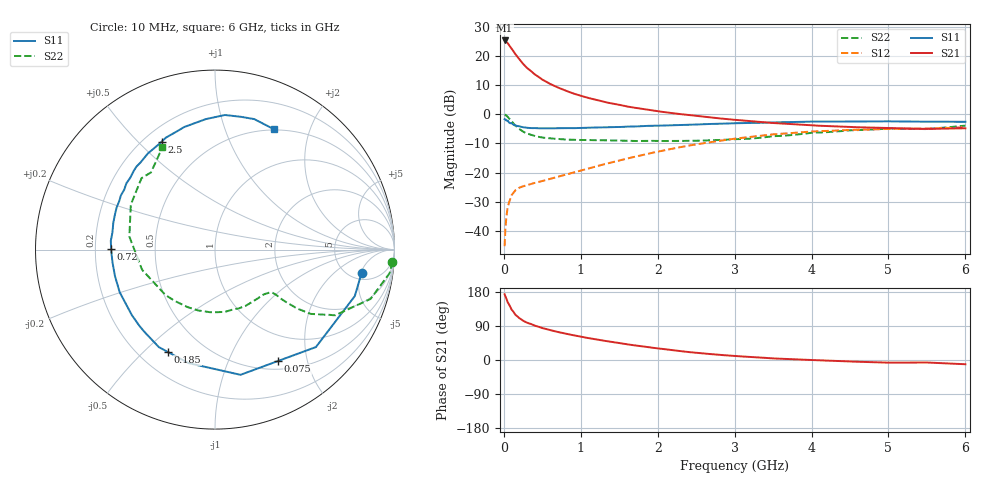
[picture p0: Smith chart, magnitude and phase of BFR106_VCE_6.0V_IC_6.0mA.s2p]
! Infineon Technologies  Discrete & RF Semiconductors
! BFR106
! VCE =  6.0 V,  IC =  6.0 mA
! Common Emitter S-Parameters:  Nov 2015
# GHz  S  MA  R  50
!  f  S11  S21  S12  S22
! GHz  MAG  ANG  MAG  ANG  MAG  ANG  MAG  ANG
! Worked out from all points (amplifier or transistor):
!   210 points, 10 MHz to 6 GHz, reference 50 ohm
!   highest |S21| = 25.4 dB at 10 MHz (marker M1)
!   |S21| within 3 dB of that: start of sweep to 107.1 MHz
!   unconditionally stable (mu >= 1): 583.7 MHz to 1.863 GHz; 5.048 GHz to end of sweep
!   at 185 MHz: K = 0.42, MSG = 22.5 dB, |S12| = -25.5 dB
!   at 1.52 GHz: K = 1.10, MAG = 7.6 dB, |S12| = -15.7 dB
!   at 6 GHz: K = 1.02, MAG = -1.0 dB, |S12| = -4.4 dB
!   S11 on the Smith chart (normalised r, x): 10 MHz: 6.17, -5.16; 75 MHz: 0.61, -1.54; 185 MHz: 0.32, -0.59; 720 MHz: 0.27, +0.00; 2.5 GHz: 0.27, +0.59; 6 GHz: 0.49, +1.49
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0.01  0.8269 -9.2  18.72 173.5  0.0054 84.6  0.991 -3.9
0.02  0.8208 -18.4  18.51 168.4  0.0106 79.4  0.9816 -7.7
0.05  0.7817 -44.0  16.85 152.4  0.0252 68.8  0.9095 -17.6
0.075  0.7133 -60.4  15.07 143.8  0.0327 60.3  0.8327 -22.6
0.1  0.7119 -78.5  13.7 133.3  0.0406 55.1  0.7636 -28.6
0.15  0.6494 -103.1  10.88 119.3  0.0494 46.5  0.642 -33.9
0.185  0.6279 -114.8  9.482 113.6  0.053 44.3  0.5858 -35.1
0.2  0.627 -119.9  8.92 110.6  0.0546 43.5  0.5618 -35.7
0.26  0.5984 -134.7  7.181 102.6  0.0585 41.7  0.4974 -36.4
0.3  0.5896 -141.9  6.325 98.6  0.0605 42.2  0.4693 -36.6
0.4  0.5817 -155.9  4.91 90.8  0.0661 43.5  0.423 -36.5
0.5  0.5765 -165.2  3.971 84.3  0.0714 46.4  0.3987 -36.9
0.6  0.5756 -173.1  3.354 78.9  0.0776 48.8  0.3867 -38.2
0.72  0.5788 179.4  2.842 73.2  0.0857 52.4  0.3762 -40.6
1.02  0.5865 164.5  2.053 60.9  0.1102 59.2  0.3623 -48.0
1.4  0.6051 150.0  1.543 47.9  0.149 63.5  0.3571 -60.6
2.02  0.6397 130.0  1.125 30.2  0.2312 62.2  0.3492 -86.6
2.5  0.671 116.3  0.942 19.1  0.3045 56.9  0.3521 -110.6
3.1  0.7073 102.0  0.787 9.3  0.3953 47.0  0.3768 -143.5
4.1  0.7514 84.4  0.638 -0.8  0.5129 27.8  0.4876 167.2
5.1  0.7566 72.1  0.578 -6.9  0.5634 11.1  0.568 134.6
6  0.7462 63.9  0.577 -11.2  0.6014 -0.4  0.6405 117.2
